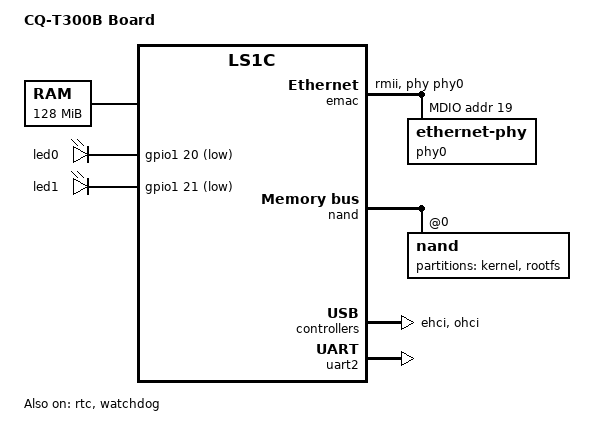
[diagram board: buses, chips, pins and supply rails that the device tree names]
// SPDX-License-Identifier: GPL-2.0
/*
 * Copyright (c) 2023-2025 Keguang Zhang <keguang.zhang@gmail.com>
 */

/dts-v1/;

#include <dt-bindings/gpio/gpio.h>

#include "loongson1c.dtsi"

/ {
	compatible = "loongson,cq-t300b", "loongson,ls1c";
	model = "CQ-T300B Board";

	memory@0 {
		device_type = "memory";
		reg = <0x0 0x8000000>;
	};

	aliases {
		gpio0 = &gpio0;
		gpio1 = &gpio1;
		gpio2 = &gpio2;
		gpio3 = &gpio3;
		serial0 = &uart2;
	};

	chosen {
		stdout-path = "serial0:115200n8";
	};

	leds {
		compatible = "gpio-leds";

		led0 {
			label = "led0";
			gpios = <&gpio1 20 GPIO_ACTIVE_LOW>;
			linux,default-trigger = "heartbeat";
		};

		led1 {
			label = "led1";
			gpios = <&gpio1 21 GPIO_ACTIVE_LOW>;
			linux,default-trigger = "nand-disk";
		};
	};
};

&xtal {
	clock-frequency = <24000000>;
};

&emac {
	phy-handle = <&phy0>;
	phy-mode = "rmii";
	status = "okay";

	mdio {
		compatible = "snps,dwmac-mdio";
		#address-cells = <1>;
		#size-cells = <0>;

		phy0: ethernet-phy@13 {
			reg = <0x13>;
		};
	};
};

&nand {
	status = "okay";

	nand@0 {
		partitions {
			compatible = "fixed-partitions";
			#address-cells = <1>;
			#size-cells = <1>;

			partition@0 {
				label = "kernel";
				reg = <0x0 0x1000000>;
			};

			partition@1000000 {
				label = "rootfs";
				reg = <0x1000000 0x3f000000>;
			};
		};
	};
};

&ehci {
	status = "okay";
};

&ohci {
	status = "okay";
};

&rtc {
	status = "okay";
};

&uart2 {
	status = "okay";
};

&watchdog {
	status = "okay";
};
